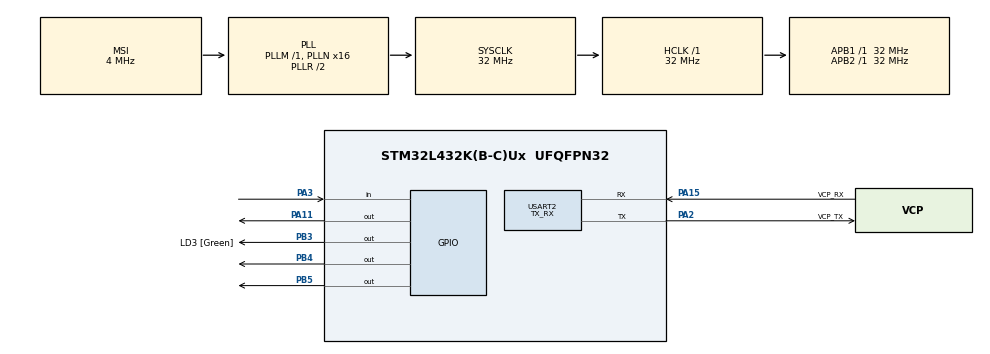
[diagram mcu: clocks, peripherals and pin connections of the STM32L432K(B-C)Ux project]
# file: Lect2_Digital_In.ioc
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Mcu.Family=STM32L4
Mcu.Name=STM32L432K(B-C)Ux
Mcu.Package=UFQFPN32
NVIC.PriorityGroup=NVIC_PRIORITYGROUP_4
PA0.GPIO_Label=MCO [High speed clock in]
PA0.Mode=HSE-External-Clock-Source-for-LittleOrca
PA0.Signal=RCC_CK_IN
PA11.Signal=GPIO_Output
PA13\ (JTMS-SWDIO).GPIO_Label=SWDIO
PA13\ (JTMS-SWDIO).Mode=Serial_Wire
PA13\ (JTMS-SWDIO).Signal=SYS_JTMS-SWDIO
PA14\ (JTCK-SWCLK).GPIO_Label=SWCLK
PA14\ (JTCK-SWCLK).Mode=Serial_Wire
PA14\ (JTCK-SWCLK).Signal=SYS_JTCK-SWCLK
PA15\ (JTDI).GPIO_Label=VCP_RX
PA15\ (JTDI).Mode=Asynchronous
PA15\ (JTDI).Signal=USART2_RX
PA2.GPIO_Label=VCP_TX
PA2.Mode=Asynchronous
PA2.Signal=USART2_TX
PA3.GPIO_PuPd=GPIO_PULLUP
PA3.Signal=GPIO_Input
PB3\ (JTDO-TRACESWO).GPIO_Label=LD3 [Green]
PB3\ (JTDO-TRACESWO).Signal=GPIO_Output
PB4\ (NJTRST).Signal=GPIO_Output
PB5.Signal=GPIO_Output
PC14-OSC32_IN\ (PC14).Mode=LSE-External-Oscillator
PC14-OSC32_IN\ (PC14).Signal=RCC_OSC32_IN
PC15-OSC32_OUT\ (PC15).Mode=LSE-External-Oscillator
PC15-OSC32_OUT\ (PC15).Signal=RCC_OSC32_OUT
ProjectManager.HeapSize=0x200
ProjectManager.StackSize=0x400
ProjectManager.TargetToolchain=STM32CubeIDE
RCC.AHBFreq_Value=32000000
RCC.APB1Freq_Value=32000000
RCC.APB1TimFreq_Value=32000000
RCC.APB2Freq_Value=32000000
RCC.APB2TimFreq_Value=32000000
RCC.CortexFreq_Value=32000000
RCC.HCLKFreq_Value=32000000
RCC.HSE_VALUE=8000000
RCC.HSI16_VALUE=16000000
RCC.HSI48_VALUE=48000000
RCC.HSI_VALUE=16000000
RCC.MSI_VALUE=4000000
RCC.PLLMUL=RCC_PLLMUL_4
RCC.PLLN=16
RCC.SYSCLKFreq_VALUE=32000000
RCC.SYSCLKSource=RCC_SYSCLKSOURCE_PLLCLK
RCC.VCOOutputFreq_Value=64000000
USART2.Mode=MODE_TX_RX
USART2.VirtualMode-Asynchronous=VM_ASYNC
board=NUCLEO-L432KC

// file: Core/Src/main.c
/* USER CODE BEGIN Header */
/**
  ******************************************************************************
  * @file           : main.c
  * @brief          : Main program body
  ******************************************************************************
  * @attention
  *
  * <h2><center>&copy; Copyright (c) 2020 STMicroelectronics.
  * All rights reserved.</center></h2>
  *
  * This software component is licensed by ST under BSD 3-Clause license,
  * the "License"; You may not use this file except in compliance with the
  * License. You may obtain a copy of the License at:
  *                        opensource.org/licenses/BSD-3-Clause
  *
  ******************************************************************************
  */
/* USER CODE END Header */
#include "main.h"

/* USER CODE BEGIN Includes */
#include <stdio.h>

/* USER CODE END Includes */

UART_HandleTypeDef huart2;

void SystemClock_Config(void);
static void MX_GPIO_Init(void);
static void MX_USART2_UART_Init(void);

int main(void)
{

  /* MCU Configuration--------------------------------------------------------*/

  /* Reset of all peripherals, Initializes the Flash interface and the Systick. */
  HAL_Init();

  /* Configure the system clock */
  SystemClock_Config();

  /* Initialize all configured peripherals */
  MX_GPIO_Init();
  MX_USART2_UART_Init();
  /* USER CODE BEGIN 2 */
  uint32_t delay = 200;
  /* USER CODE END 2 */

  /* Infinite loop */
  while (1)
  {
    /* USER CODE END WHILE */

    /* USER CODE BEGIN 3 */
	  uint8_t input = HAL_GPIO_ReadPin(GPIOA,  GPIO_PIN_3);
	  if(input)
	  {
		  HAL_GPIO_WritePin(GPIOA, GPIO_PIN_11, GPIO_PIN_SET);
		  HAL_Delay(delay);
		  HAL_GPIO_WritePin(GPIOA, GPIO_PIN_11, GPIO_PIN_RESET);
		  HAL_GPIO_WritePin(GPIOB, GPIO_PIN_5, GPIO_PIN_SET);
		  HAL_Delay(delay);
		  HAL_GPIO_WritePin(GPIOB, GPIO_PIN_5, GPIO_PIN_RESET);
		  HAL_GPIO_WritePin(GPIOB, GPIO_PIN_4, GPIO_PIN_SET);
		  HAL_Delay(delay);
		  HAL_GPIO_WritePin(GPIOB, GPIO_PIN_4, GPIO_PIN_RESET);
	  }
	  else
	  {
		  HAL_GPIO_WritePin(GPIOB, GPIO_PIN_4, GPIO_PIN_SET);
		  HAL_Delay(delay);
		  HAL_GPIO_WritePin(GPIOB, GPIO_PIN_4, GPIO_PIN_RESET);
		  HAL_GPIO_WritePin(GPIOB, GPIO_PIN_5, GPIO_PIN_SET);
		  HAL_Delay(delay);
		  HAL_GPIO_WritePin(GPIOB, GPIO_PIN_5, GPIO_PIN_RESET);
		  HAL_GPIO_WritePin(GPIOA, GPIO_PIN_11, GPIO_PIN_SET);
		  HAL_Delay(delay);
		  HAL_GPIO_WritePin(GPIOA, GPIO_PIN_11, GPIO_PIN_RESET);
	  }
  }
  /* USER CODE END 3 */
}

void SystemClock_Config(void)
{
  RCC_OscInitTypeDef RCC_OscInitStruct = {0};
  RCC_ClkInitTypeDef RCC_ClkInitStruct = {0};
  RCC_PeriphCLKInitTypeDef PeriphClkInit = {0};

  /** Configure LSE Drive Capability
  */
  HAL_PWR_EnableBkUpAccess();
  __HAL_RCC_LSEDRIVE_CONFIG(RCC_LSEDRIVE_LOW);
  /** Initializes the RCC Oscillators according to the specified parameters
  * in the RCC_OscInitTypeDef structure.
  */
  RCC_OscInitStruct.OscillatorType = RCC_OSCILLATORTYPE_LSE|RCC_OSCILLATORTYPE_MSI;
  RCC_OscInitStruct.LSEState = RCC_LSE_ON;
  RCC_OscInitStruct.MSIState = RCC_MSI_ON;
  RCC_OscInitStruct.MSICalibrationValue = 0;
  RCC_OscInitStruct.MSIClockRange = RCC_MSIRANGE_6;
  RCC_OscInitStruct.PLL.PLLState = RCC_PLL_ON;
  RCC_OscInitStruct.PLL.PLLSource = RCC_PLLSOURCE_MSI;
  RCC_OscInitStruct.PLL.PLLM = 1;
  RCC_OscInitStruct.PLL.PLLN = 16;
  RCC_OscInitStruct.PLL.PLLP = RCC_PLLP_DIV7;
  RCC_OscInitStruct.PLL.PLLQ = RCC_PLLQ_DIV2;
  RCC_OscInitStruct.PLL.PLLR = RCC_PLLR_DIV2;
  if (HAL_RCC_OscConfig(&RCC_OscInitStruct) != HAL_OK)
  {
    Error_Handler();
  }
  /** Initializes the CPU, AHB and APB buses clocks
  */
  RCC_ClkInitStruct.ClockType = RCC_CLOCKTYPE_HCLK|RCC_CLOCKTYPE_SYSCLK
                              |RCC_CLOCKTYPE_PCLK1|RCC_CLOCKTYPE_PCLK2;
  RCC_ClkInitStruct.SYSCLKSource = RCC_SYSCLKSOURCE_PLLCLK;
  RCC_ClkInitStruct.AHBCLKDivider = RCC_SYSCLK_DIV1;
  RCC_ClkInitStruct.APB1CLKDivider = RCC_HCLK_DIV1;
  RCC_ClkInitStruct.APB2CLKDivider = RCC_HCLK_DIV1;

  if (HAL_RCC_ClockConfig(&RCC_ClkInitStruct, FLASH_LATENCY_1) != HAL_OK)
  {
    Error_Handler();
  }
  PeriphClkInit.PeriphClockSelection = RCC_PERIPHCLK_USART2;
  PeriphClkInit.Usart2ClockSelection = RCC_USART2CLKSOURCE_PCLK1;
  if (HAL_RCCEx_PeriphCLKConfig(&PeriphClkInit) != HAL_OK)
  {
    Error_Handler();
  }
  /** Configure the main internal regulator output voltage
  */
  if (HAL_PWREx_ControlVoltageScaling(PWR_REGULATOR_VOLTAGE_SCALE1) != HAL_OK)
  {
    Error_Handler();
  }
  /** Enable MSI Auto calibration
  */
  HAL_RCCEx_EnableMSIPLLMode();
}

static void MX_USART2_UART_Init(void)
{

  huart2.Instance = USART2;
  huart2.Init.BaudRate = 115200;
  huart2.Init.WordLength = UART_WORDLENGTH_8B;
  huart2.Init.StopBits = UART_STOPBITS_1;
  huart2.Init.Parity = UART_PARITY_NONE;
  huart2.Init.Mode = UART_MODE_TX_RX;
  huart2.Init.HwFlowCtl = UART_HWCONTROL_NONE;
  huart2.Init.OverSampling = UART_OVERSAMPLING_16;
  huart2.Init.OneBitSampling = UART_ONE_BIT_SAMPLE_DISABLE;
  huart2.AdvancedInit.AdvFeatureInit = UART_ADVFEATURE_NO_INIT;
  if (HAL_UART_Init(&huart2) != HAL_OK)
  {
    Error_Handler();
  }

}

static void MX_GPIO_Init(void)
{
  GPIO_InitTypeDef GPIO_InitStruct = {0};

  /* GPIO Ports Clock Enable */
  __HAL_RCC_GPIOC_CLK_ENABLE();
  __HAL_RCC_GPIOA_CLK_ENABLE();
  __HAL_RCC_GPIOB_CLK_ENABLE();

  /*Configure GPIO pin Output Level */
  HAL_GPIO_WritePin(GPIOA, GPIO_PIN_11, GPIO_PIN_RESET);

  /*Configure GPIO pin Output Level */
  HAL_GPIO_WritePin(GPIOB, LD3_Pin|GPIO_PIN_4|GPIO_PIN_5, GPIO_PIN_RESET);

  /*Configure GPIO pin : PA3 */
  GPIO_InitStruct.Pin = GPIO_PIN_3;
  GPIO_InitStruct.Mode = GPIO_MODE_INPUT;
  GPIO_InitStruct.Pull = GPIO_PULLUP;
  HAL_GPIO_Init(GPIOA, &GPIO_InitStruct);

  /*Configure GPIO pin : PA11 */
  GPIO_InitStruct.Pin = GPIO_PIN_11;
  GPIO_InitStruct.Mode = GPIO_MODE_OUTPUT_PP;
  GPIO_InitStruct.Pull = GPIO_NOPULL;
  GPIO_InitStruct.Speed = GPIO_SPEED_FREQ_LOW;
  HAL_GPIO_Init(GPIOA, &GPIO_InitStruct);

  /*Configure GPIO pins : LD3_Pin PB4 PB5 */
  GPIO_InitStruct.Pin = LD3_Pin|GPIO_PIN_4|GPIO_PIN_5;
  GPIO_InitStruct.Mode = GPIO_MODE_OUTPUT_PP;
  GPIO_InitStruct.Pull = GPIO_NOPULL;
  GPIO_InitStruct.Speed = GPIO_SPEED_FREQ_LOW;
  HAL_GPIO_Init(GPIOB, &GPIO_InitStruct);

}

void Error_Handler(void)
{
}

/************************ (C) COPYRIGHT STMicroelectronics *****END OF FILE****/
